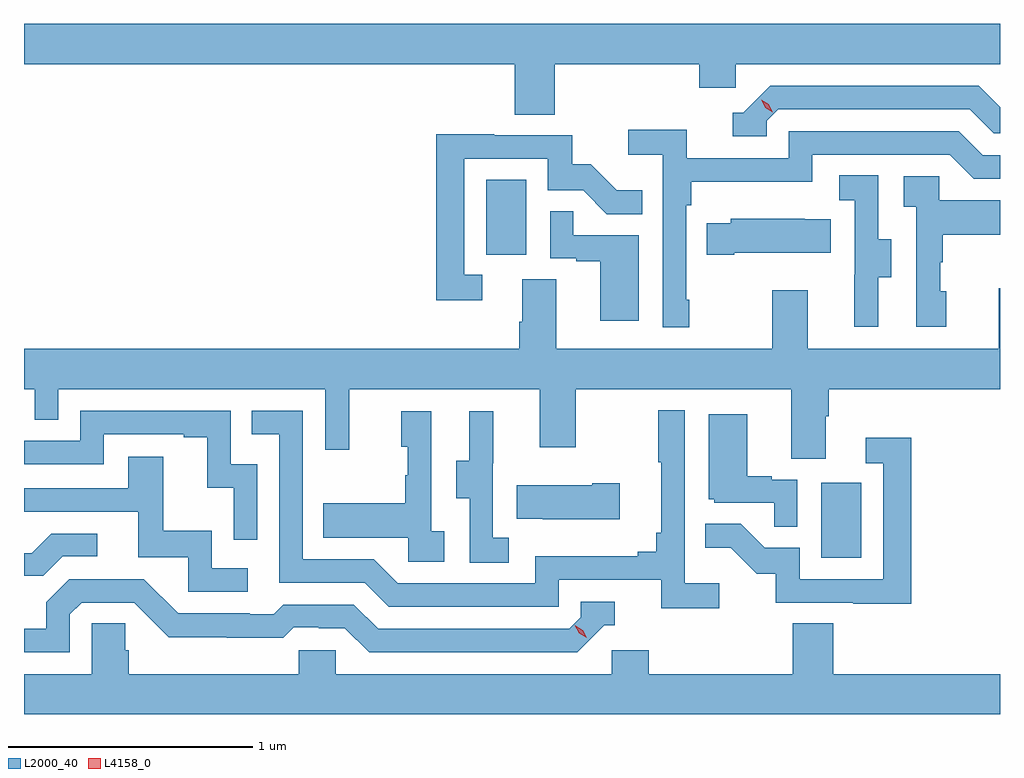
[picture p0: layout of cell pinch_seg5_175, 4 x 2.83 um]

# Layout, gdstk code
import gdstk
lib = gdstk.Library(unit=1e-6, precision=1e-09)
def R(c, l, rs):  # rectangles x0, y0, x1, y1
    for r in rs: c.add(gdstk.rectangle(r[:2], r[2:], *l))
def P(c, l, *ps):  # polygons
    for p in ps: c.add(gdstk.Polygon(p, *l))
L2000_40 = (2000, 40)
L4158_0 = (4158, 0)

pinch_seg5_175 = lib.new_cell('pinch_seg5_175')
R(pinch_seg5_175, L2000_40, [(1117.964,877.38,1118.128,877.687), (1116.59,878.622,1116.754,878.929)])
P(pinch_seg5_175, L2000_40, [(1116.872,879.404),(1117.463,879.404),(1117.463,879.306),(1117.614,879.306),(1117.614,879.404),(1118.696,879.404),(1118.696,879.568),(1114.696,879.568),(1114.696,879.404),(1116.707,879.404),(1116.707,879.196),(1116.872,879.196)],
  [(1117.74,879.171),(1117.788,879.219),(1118.571,879.219),(1118.67,879.12),(1118.696,879.12),(1118.696,879.227),(1118.608,879.315),(1117.755,879.315),(1117.644,879.204),(1117.601,879.204),(1117.601,879.108),(1117.74,879.108)],
  [(1117.423,878.437),(1117.41,878.437),(1117.41,878.825),(1117.43,878.825),(1117.43,878.921),(1117.926,878.921),(1117.926,879.033),(1118.49,879.033),(1118.589,878.934),(1118.696,878.934),(1118.696,879.03),(1118.626,879.03),(1118.527,879.129),(1117.83,879.129),(1117.83,879.018),(1117.412,879.018),(1117.412,879.134),(1117.173,879.134),(1117.173,879.032),(1117.314,879.032),(1117.314,878.325),(1117.423,878.325)],
  [(1116.574,878.541),(1116.501,878.541),(1116.501,879.015),(1116.843,879.015),(1116.843,878.886),(1116.987,878.886),(1117.085,878.788),(1117.229,878.788),(1117.229,878.887),(1117.125,878.887),(1117.018,878.994),(1116.942,878.994),(1116.942,879.111),(1116.623,879.111),(1116.623,879.116),(1116.385,879.116),(1116.385,878.436),(1116.574,878.436)],
  [(1118.197,878.53),(1118.251,878.53),(1118.251,878.685),(1118.196,878.685),(1118.196,878.948),(1118.037,878.948),(1118.037,878.845),(1118.1,878.845),(1118.1,878.541),(1118.099,878.541),(1118.099,878.328),(1118.197,878.328)],
  [(1118.476,878.472),(1118.451,878.472),(1118.451,878.591),(1118.461,878.591),(1118.461,878.705),(1118.696,878.705),(1118.696,878.845),(1118.448,878.845),(1118.448,878.943),(1118.301,878.943),(1118.301,878.819),(1118.352,878.819),(1118.352,878.328),(1118.476,878.328)],
  [(1117.216,878.703),(1116.947,878.703),(1116.947,878.801),(1116.852,878.801),(1116.852,878.607),(1116.959,878.607),(1116.959,878.595),(1117.058,878.595),(1117.058,878.352),(1117.216,878.352)],
  [(1117.606,878.63),(1118.003,878.63),(1118.003,878.767),(1117.895,878.767),(1117.895,878.77),(1117.593,878.77),(1117.593,878.752),(1117.495,878.752),(1117.495,878.623),(1117.606,878.623)],
  [(1117.981,877.96),(1117.994,877.96),(1117.994,878.072),(1118.696,878.072),(1118.696,878.485),(1118.69,878.485),(1118.69,878.236),(1117.909,878.236),(1117.909,878.476),(1117.762,878.476),(1117.762,878.236),(1116.877,878.236),(1116.877,878.522),(1116.737,878.522),(1116.737,878.348),(1116.725,878.348),(1116.725,878.236),(1114.696,878.236),(1114.696,878.072),(1114.74,878.072),(1114.74,877.945),(1114.836,877.945),(1114.836,878.072),(1115.931,878.072),(1115.931,877.824),(1116.029,877.824),(1116.029,878.072),(1116.809,878.072),(1116.809,877.833),(1116.957,877.833),(1116.957,878.072),(1117.841,878.072),(1117.841,877.786),(1117.981,877.786)],
  [(1117.546,877.276),(1117.404,877.276),(1117.404,877.984),(1117.296,877.984),(1117.296,877.771),(1117.307,877.771),(1117.307,877.483),(1117.288,877.483),(1117.288,877.406),(1117.211,877.406),(1117.211,877.387),(1116.792,877.387),(1116.792,877.275),(1116.228,877.275),(1116.129,877.374),(1115.838,877.374),(1115.838,877.983),(1115.629,877.983),(1115.629,877.887),(1115.742,877.887),(1115.742,877.278),(1116.092,877.278),(1116.191,877.179),(1116.888,877.179),(1116.888,877.29),(1117.307,877.29),(1117.307,877.174),(1117.546,877.174)],
  [(1115.652,877.764),(1115.544,877.764),(1115.544,877.983),(1114.926,877.983),(1114.926,877.86),(1114.696,877.86),(1114.696,877.764),(1115.022,877.764),(1115.022,877.887),(1115.351,877.887),(1115.351,877.875),(1115.447,877.875),(1115.447,877.667),(1115.556,877.667),(1115.556,877.455),(1115.652,877.455)],
  [(1116.682,877.463),(1116.618,877.463),(1116.618,877.767),(1116.62,877.767),(1116.62,877.981),(1116.521,877.981),(1116.521,877.779),(1116.467,877.779),(1116.467,877.624),(1116.522,877.624),(1116.522,877.36),(1116.682,877.36)],
  [(1116.418,877.49),(1116.366,877.49),(1116.366,877.981),(1116.242,877.981),(1116.242,877.836),(1116.268,877.836),(1116.268,877.718),(1116.258,877.718),(1116.258,877.603),(1115.923,877.603),(1115.923,877.463),(1116.27,877.463),(1116.27,877.365),(1116.418,877.365)],
  [(1117.866,877.701),(1117.76,877.701),(1117.76,877.714),(1117.66,877.714),(1117.66,877.969),(1117.502,877.969),(1117.502,877.62),(1117.524,877.62),(1117.524,877.605),(1117.771,877.605),(1117.771,877.507),(1117.866,877.507)],
  [(1118.333,877.873),(1118.145,877.873),(1118.145,877.767),(1118.217,877.767),(1118.217,877.293),(1117.875,877.293),(1117.875,877.422),(1117.731,877.422),(1117.633,877.52),(1117.489,877.52),(1117.489,877.421),(1117.593,877.421),(1117.7,877.314),(1117.777,877.314),(1117.777,877.197),(1118.095,877.197),(1118.095,877.192),(1118.333,877.192)],
  [(1115.614,877.338),(1115.466,877.338),(1115.466,877.492),(1115.267,877.492),(1115.267,877.795),(1115.123,877.795),(1115.123,877.665),(1114.696,877.665),(1114.696,877.569),(1115.165,877.569),(1115.165,877.383),(1115.37,877.383),(1115.37,877.242),(1115.614,877.242)],
  [(1117.138,877.686),(1117.025,877.686),(1117.025,877.678),(1116.715,877.678),(1116.715,877.541),(1116.823,877.541),(1116.823,877.538),(1117.138,877.538)],
  [(1114.854,877.386),(1114.996,877.386),(1114.996,877.479),(1114.808,877.479),(1114.727,877.398),(1114.696,877.398),(1114.696,877.306),(1114.774,877.306)],
  [(1114.884,877.149),(1114.932,877.197),(1115.148,877.197),(1115.29,877.055),(1115.526,877.055),(1115.526,877.053),(1115.759,877.053),(1115.801,877.095),(1115.904,877.095),(1115.904,877.092),(1116.011,877.092),(1116.11,876.993),(1116.963,876.993),(1117.074,877.104),(1117.117,877.104),(1117.117,877.2),(1116.978,877.2),(1116.978,877.137),(1116.93,877.089),(1116.147,877.089),(1116.048,877.188),(1115.759,877.188),(1115.72,877.149),(1115.621,877.149),(1115.621,877.152),(1115.328,877.152),(1115.187,877.293),(1114.881,877.293),(1114.787,877.199),(1114.787,877.089),(1114.696,877.089),(1114.696,876.993),(1114.884,876.993)],
  [(1118.696,876.904),(1118.012,876.904),(1118.012,877.112),(1117.847,877.112),(1117.847,876.904),(1117.256,876.904),(1117.256,877.002),(1117.104,877.002),(1117.104,876.904),(1115.973,876.904),(1115.973,877.002),(1115.823,877.002),(1115.823,876.904),(1115.126,876.904),(1115.126,877.002),(1115.111,877.002),(1115.111,877.112),(1114.974,877.112),(1114.974,876.904),(1114.696,876.904),(1114.696,876.74),(1118.696,876.74)])
P(pinch_seg5_175, L4158_0, [(1117.002,877.052),(1116.971,877.07),(1116.954,877.103),(1116.954,877.103),(1116.954,877.103),(1116.985,877.084),(1117.002,877.052),(1117.002,877.052)],
  [(1117.765,879.206),(1117.734,879.225),(1117.717,879.258),(1117.717,879.258),(1117.718,879.258),(1117.749,879.239),(1117.765,879.206),(1117.765,879.206)])

lib.write_gds('pinch_seg5_175.gds')
